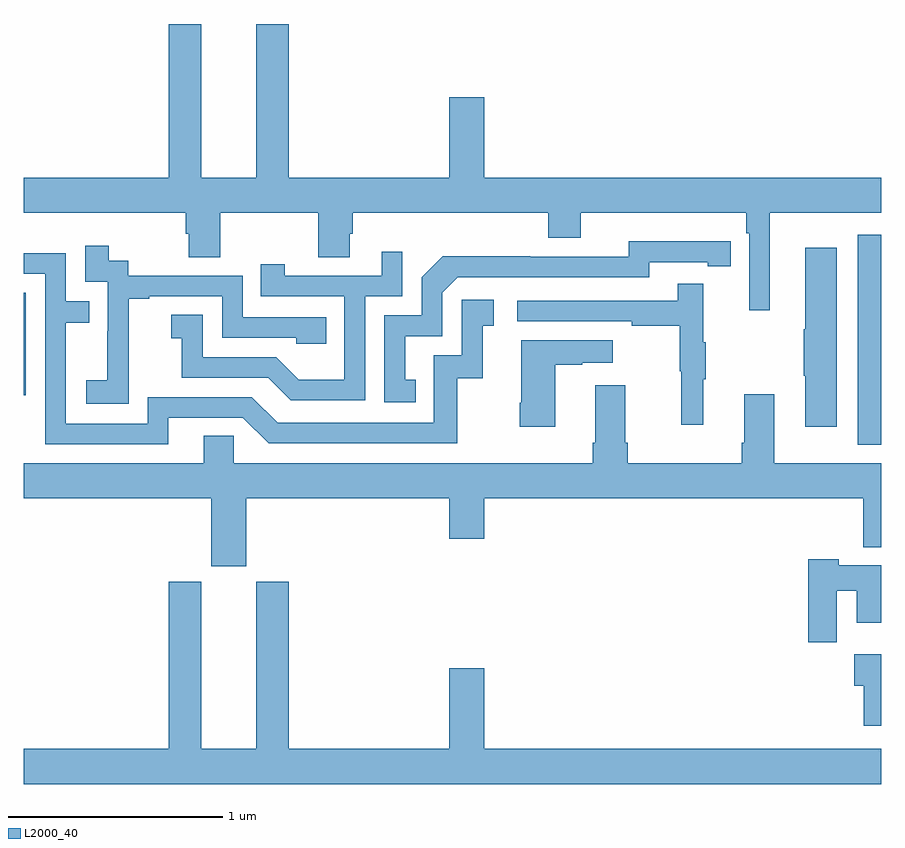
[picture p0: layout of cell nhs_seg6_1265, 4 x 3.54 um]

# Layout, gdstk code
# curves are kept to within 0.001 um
import gdstk
lib = gdstk.Library(unit=1e-6, precision=1e-09)
def R(c, l, rs):  # rectangles x0, y0, x1, y1
    for r in rs: c.add(gdstk.rectangle(r[:2], r[2:], *l))
def P(c, l, *ps):  # polygons
    for p in ps: c.add(gdstk.Polygon(p, *l))
L2000_40 = (2000, 40)

nhs_seg6_1265 = lib.new_cell('nhs_seg6_1265')
R(nhs_seg6_1265, L2000_40, [(187,995.769,187.011,996.246)])
P(nhs_seg6_1265, L2000_40, [(190.48,996.62),(191,996.62),(191,996.784),(189.148,996.784),(189.148,997.159),(188.984,997.159),(188.984,996.784),(188.237,996.784),(188.237,997.5),(188.084,997.5),(188.084,996.784),(187.828,996.784),(187.828,997.5),(187.676,997.5),(187.676,996.784),(187,996.784),(187,996.62),(187.757,996.62),(187.757,996.522),(187.769,996.522),(187.769,996.412),(187.917,996.412),(187.917,996.62),(188.374,996.62),(188.374,996.412),(188.521,996.412),(188.521,996.522),(188.534,996.522),(188.534,996.62),(189.446,996.62),(189.446,996.503),(189.598,996.503),(189.598,996.62),(190.37,996.62),(190.37,996.524),(190.383,996.524),(190.383,996.165),(190.48,996.165)],
  [(191,995.727),(190.999,995.727),(190.999,996.294),(191,996.294),(191,996.517),(190.889,996.517),(190.889,995.537),(191,995.537)],
  [(188.828,995.841),(188.779,995.841),(188.779,996.045),(188.952,996.045),(188.952,996.246),(189.024,996.318),(189.918,996.318),(189.918,996.39),(190.19,996.39),(190.19,996.37),(190.298,996.37),(190.298,996.486),(189.822,996.487),(189.822,996.414),(189.362,996.414),(189.362,996.416),(188.954,996.416),(188.856,996.318),(188.856,996.141),(188.682,996.141),(188.682,995.736),(188.828,995.736)],
  [(187.491,995.935),(187.49,995.935),(187.49,996.219),(187.585,996.219),(187.585,996.231),(187.926,996.231),(187.926,996.036),(188.271,996.036),(188.271,996.009),(188.411,996.009),(188.411,996.132),(188.022,996.132),(188.022,996.327),(187.488,996.327),(187.488,996.396),(187.396,996.396),(187.396,996.466),(187.287,996.466),(187.287,996.297),(187.392,996.297),(187.392,996.068),(187.391,996.068),(187.391,995.839),(187.293,995.839),(187.293,995.729),(187.491,995.729)],
  [(190.792,996.457),(190.646,996.457),(190.646,996.077),(190.639,996.077),(190.639,995.86),(190.646,995.86),(190.646,995.622),(190.792,995.622)],
  [(188.592,996.231),(188.766,996.231),(188.766,996.439),(188.669,996.439),(188.669,996.327),(188.218,996.327),(188.218,996.379),(188.107,996.379),(188.107,996.231),(188.496,996.231),(188.496,995.842),(188.282,995.842),(188.178,995.946),(187.836,995.946),(187.836,996.145),(187.689,996.145),(187.689,996.035),(187.738,996.035),(187.738,995.85),(188.141,995.85),(188.246,995.745),(188.592,995.745)],
  [(187.675,995.664),(188.022,995.664),(188.142,995.544),(189.022,995.544),(189.022,995.847),(189.14,995.847),(189.14,996.093),(189.193,996.093),(189.193,996.214),(189.042,996.214),(189.042,995.955),(188.913,995.955),(188.913,995.64),(188.184,995.64),(188.064,995.76),(187.578,995.76),(187.578,995.637),(187.197,995.637),(187.197,996.106),(187.307,996.106),(187.307,996.207),(187.197,996.207),(187.197,996.432),(187,996.432),(187,996.336),(187.101,996.336),(187.101,995.541),(187.675,995.541)],
  [(190.169,995.843),(190.18,995.843),(190.18,996.017),(190.169,996.017),(190.169,996.289),(190.051,996.289),(190.051,996.21),(189.303,996.21),(189.303,996.114),(189.835,996.114),(189.835,996.094),(190.059,996.094),(190.059,995.88),(190.066,995.88),(190.066,995.631),(190.169,995.631)],
  [(189.478,995.911),(189.605,995.911),(189.605,995.921),(189.748,995.921),(189.748,996.025),(189.32,996.025),(189.32,995.734),(189.313,995.734),(189.313,995.622),(189.478,995.622)],
  [(190.361,995.773),(190.361,995.548),(190.349,995.548),(190.349,995.452),(189.818,995.452),(189.818,995.548),(189.805,995.548),(189.805,995.815),(189.665,995.815),(189.665,995.548),(189.653,995.548),(189.653,995.452),(187.98,995.452),(187.98,995.579),(187.841,995.579),(187.841,995.452),(187,995.452),(187,995.288),(187.874,995.288),(187.874,994.971),(188.038,994.971),(188.038,995.288),(188.984,995.288),(188.984,995.1),(189.148,995.1),(189.148,995.288),(190.915,995.288),(190.915,995.06),(191,995.06),(191,995.452),(190.501,995.452),(190.501,995.773)],
  [(190.792,994.858),(190.886,994.858),(190.886,994.709),(191,994.709),(191,994.975),(190.8,994.975),(190.8,995.005),(190.658,995.005),(190.658,994.617),(190.792,994.617)],
  [(191,994.12),(189.148,994.12),(189.148,994.495),(188.984,994.495),(188.984,994.12),(188.237,994.12),(188.237,994.899),(188.084,994.899),(188.084,994.12),(187.828,994.12),(187.828,994.899),(187.676,994.899),(187.676,994.12),(187,994.12),(187,993.956),(191,993.956)],
  [(191,994.561),(190.874,994.561),(190.874,994.414),(190.918,994.414),(190.918,994.227),(191,994.227)])

lib.write_gds('nhs_seg6_1265.gds')
